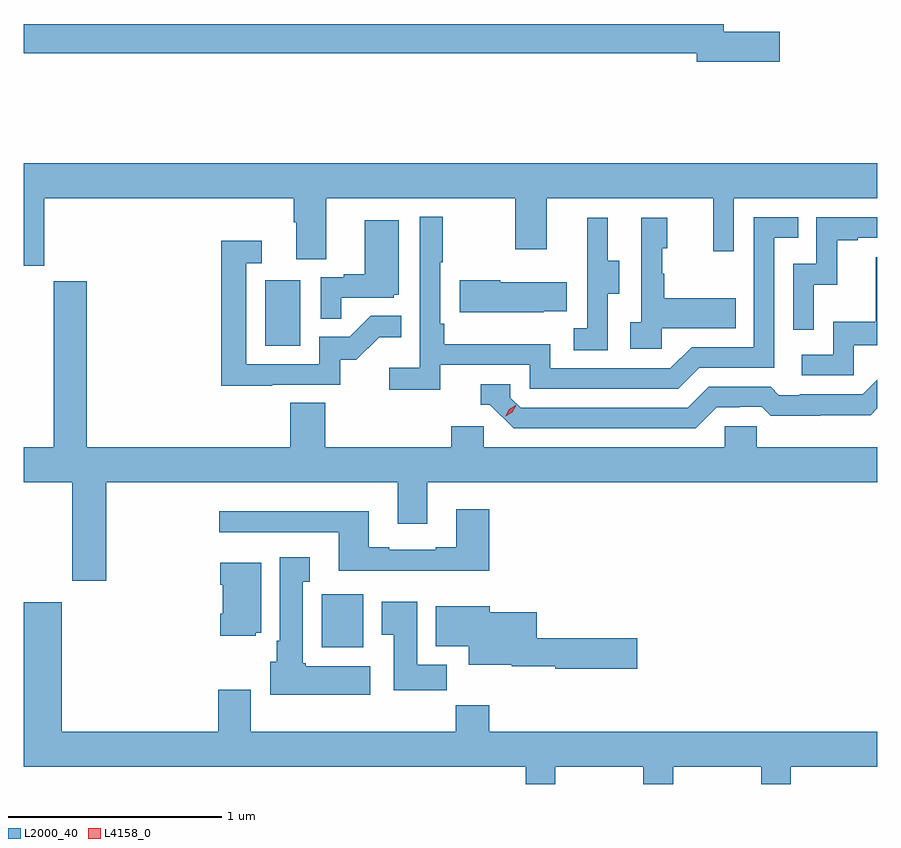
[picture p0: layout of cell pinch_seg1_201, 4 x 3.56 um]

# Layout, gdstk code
import gdstk
lib = gdstk.Library(unit=1e-6, precision=1e-09)
def R(c, l, rs):  # rectangles x0, y0, x1, y1
    for r in rs: c.add(gdstk.rectangle(r[:2], r[2:], *l))
def P(c, l, *ps):  # polygons
    for p in ps: c.add(gdstk.Polygon(p, *l))
L2000_40 = (2000, 40)
L4158_0 = (4158, 0)

pinch_seg1_201 = lib.new_cell('pinch_seg1_201')
R(pinch_seg1_201, L2000_40, [(987.873,572.27,988.069,572.52), (987.608,573.684,987.772,573.991)])
P(pinch_seg1_201, L2000_40, [(990.019,575.156),(989.758,575.156),(989.758,575.192),(986.477,575.192),(986.477,575.056),(989.63,575.056),(989.63,575.014),(990.019,575.014)],
  [(986.572,574.376),(987.743,574.376),(987.743,574.264),(987.755,574.264),(987.755,574.09),(987.895,574.09),(987.895,574.376),(988.78,574.376),(988.78,574.137),(988.927,574.137),(988.927,574.376),(989.708,574.376),(989.708,574.128),(989.805,574.128),(989.805,574.376),(990.477,574.376),(990.477,574.54),(986.477,574.54),(986.477,574.059),(986.572,574.059)],
  [(988.43,573.594),(988.848,573.594),(988.848,573.483),(989.545,573.483),(989.644,573.582),(989.994,573.582),(989.994,574.191),(990.107,574.191),(990.107,574.287),(989.898,574.287),(989.898,573.678),(989.607,573.678),(989.508,573.579),(988.944,573.579),(988.944,573.691),(988.448,573.691),(988.448,573.787),(988.428,573.787),(988.428,574.075),(988.441,574.075),(988.441,574.288),(988.332,574.288),(988.332,573.58),(988.191,573.58),(988.191,573.478),(988.43,573.478)],
  [(990.18,573.971),(990.29,573.971),(990.29,574.179),(990.385,574.179),(990.385,574.191),(990.477,574.191),(990.477,574.287),(990.192,574.287),(990.192,574.068),(990.084,574.068),(990.084,573.759),(990.18,573.759)],
  [(989.466,573.767),(989.813,573.767),(989.813,573.907),(989.479,573.907),(989.479,574.022),(989.469,574.022),(989.469,574.14),(989.494,574.14),(989.494,574.285),(989.37,574.285),(989.37,573.794),(989.319,573.794),(989.319,573.669),(989.466,573.669)],
  [(989.214,573.928),(989.269,573.928),(989.269,574.083),(989.215,574.083),(989.215,574.285),(989.117,574.285),(989.117,574.071),(989.118,574.071),(989.118,573.767),(989.055,573.767),(989.055,573.664),(989.214,573.664)],
  [(987.965,573.909),(988.212,573.909),(988.212,573.924),(988.234,573.924),(988.234,574.273),(988.076,574.273),(988.076,574.018),(987.977,574.018),(987.977,574.005),(987.87,574.005),(987.87,573.811),(987.965,573.811)],
  [(987.641,573.501),(987.96,573.501),(987.96,573.618),(988.036,573.618),(988.143,573.725),(988.247,573.725),(988.247,573.824),(988.103,573.824),(988.005,573.726),(987.861,573.726),(987.861,573.597),(987.519,573.597),(987.519,574.071),(987.592,574.071),(987.592,574.177),(987.403,574.177),(987.403,573.496),(987.641,573.496)],
  [(990.366,573.687),(990.477,573.687),(990.477,574.099),(990.469,574.099),(990.469,573.796),(990.27,573.796),(990.27,573.642),(990.123,573.642),(990.123,573.546),(990.366,573.546)],
  [(988.913,573.845),(989.021,573.845),(989.021,573.982),(988.711,573.982),(988.711,573.99),(988.52,573.99),(988.52,573.842),(988.913,573.842)],
  [(986.864,573.044),(988.229,573.044),(988.229,572.85),(988.369,572.85),(988.369,573.044),(990.477,573.044),(990.477,573.208),(989.913,573.208),(989.913,573.306),(989.763,573.306),(989.763,573.208),(988.632,573.208),(988.632,573.306),(988.481,573.306),(988.481,573.208),(987.89,573.208),(987.89,573.416),(987.725,573.416),(987.725,573.208),(986.771,573.208),(986.771,573.987),(986.618,573.987),(986.618,573.208),(986.477,573.208),(986.477,573.044),(986.704,573.044),(986.704,572.583),(986.864,572.583)],
  [(989.725,573.396),(989.832,573.396),(989.832,573.399),(989.935,573.399),(989.977,573.357),(990.21,573.357),(990.21,573.359),(990.446,573.359),(990.477,573.39),(990.477,573.525),(990.408,573.456),(990.115,573.456),(990.115,573.453),(990.016,573.453),(989.977,573.492),(989.688,573.492),(989.589,573.393),(988.806,573.393),(988.758,573.441),(988.758,573.504),(988.619,573.504),(988.619,573.408),(988.662,573.408),(988.773,573.297),(989.626,573.297)],
  [(988.658,572.917),(988.505,572.917),(988.505,572.74),(988.409,572.74),(988.409,572.727),(988.189,572.727),(988.189,572.74),(988.093,572.74),(988.093,572.908),(987.393,572.908),(987.393,572.811),(987.953,572.811),(987.953,572.63),(988.658,572.63)],
  [(988.102,572.182),(987.798,572.182),(987.798,572.196),(987.784,572.196),(987.784,572.579),(987.817,572.579),(987.817,572.692),(987.677,572.692),(987.677,572.302),(987.662,572.302),(987.662,572.202),(987.632,572.202),(987.632,572.048),(988.102,572.048)],
  [(987.564,572.34),(987.589,572.34),(987.589,572.668),(987.398,572.668),(987.398,572.564),(987.41,572.564),(987.41,572.428),(987.398,572.428),(987.398,572.324),(987.564,572.324)],
  [(988.46,572.188),(988.321,572.188),(988.321,572.485),(988.154,572.485),(988.154,572.329),(988.211,572.329),(988.211,572.07),(988.46,572.07)],
  [(988.969,571.712),(989.381,571.712),(989.381,571.63),(989.521,571.63),(989.521,571.712),(989.933,571.712),(989.933,571.63),(990.072,571.63),(990.072,571.712),(990.477,571.712),(990.477,571.876),(988.658,571.876),(988.658,572),(988.501,572),(988.501,571.876),(987.541,571.876),(987.541,572.071),(987.389,572.071),(987.389,571.876),(986.656,571.876),(986.656,572.482),(986.477,572.482),(986.477,571.712),(988.829,571.712),(988.829,571.63),(988.969,571.63)],
  [(989.353,572.312),(988.882,572.312),(988.882,572.434),(988.66,572.434),(988.66,572.464),(988.409,572.464),(988.409,572.276),(988.562,572.276),(988.562,572.189),(988.765,572.189),(988.765,572.182),(988.968,572.182),(988.968,572.17),(989.353,572.17)])
P(pinch_seg1_201, L4158_0, [(988.735,573.354),(988.735,573.355),(988.752,573.387),(988.783,573.406),(988.784,573.406),(988.784,573.406),(988.767,573.373),(988.736,573.354)])

lib.write_gds('pinch_seg1_201.gds')
